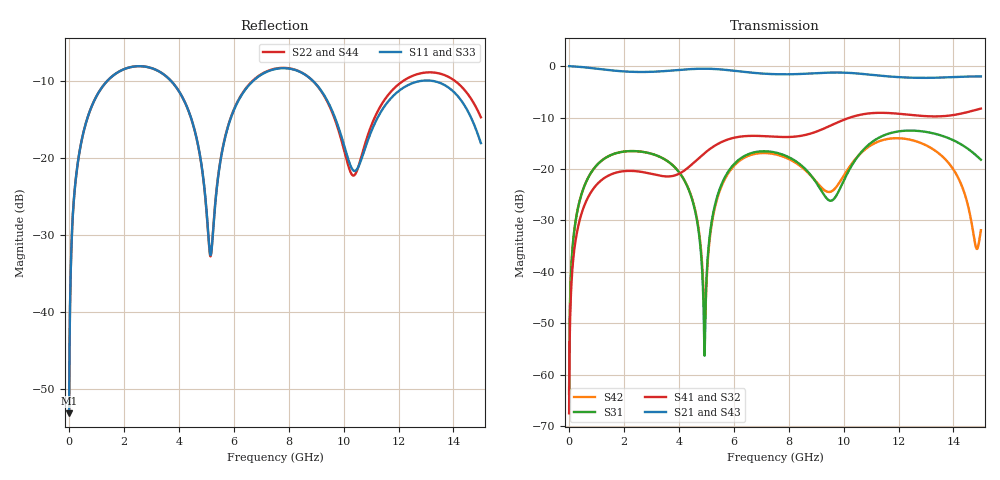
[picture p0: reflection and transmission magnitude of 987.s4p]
! Created with skrf 1.8.0 (http://scikit-rf.org).
# GHz S RI R 50.0
!freq ReS11 ImS11 ReS12 ImS12 ReS13 ImS13
! ReS14 ImS14
! ReS21 ImS21 ReS22 ImS22 ReS23 ImS23
! ReS24 ImS24
! ReS31 ImS31 ReS32 ImS32 ReS33 ImS33
! ReS34 ImS34
! ReS41 ImS41 ReS42 ImS42 ReS43 ImS43
! ReS44 ImS44
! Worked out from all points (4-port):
!   2499 points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, 5 MHz to 15 GHz, reference 50 ohm
!   strongest paths, dB at 5 MHz, 3.476 GHz, 7.19 GHz, 11.1 GHz, 15 GHz:
!     S21: 0.0, -1.0, -1.5, -1.7, -2.0
!     S43: 0.0, -1.0, -1.5, -1.7, -2.0
!     S41: -67.5, -21.4, -13.6, -9.1, -8.3
!     S32: -67.5, -21.5, -13.7, -9.1, -8.3
!     S31: -63.7, -18.1, -16.6, -14.5, -18.2
!     S42: -63.7, -18.1, -16.9, -15.1, -31.9
!   lowest |S11| = -53.2 dB at 5 MHz (marker M1), VSWR 1.00, Z = 50.2 + j0.133 ohm
!   |S11| at or under -10 dB: 3.726 GHz to 6.694 GHz (2.968 GHz wide, 57 % of centre); 8.894 GHz to 12.76 GHz (3.863 GHz wide, 35.7 % of centre); 13.3 GHz to end of sweep (the widest 3 of 4)
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0.005  0.00174 0.00133  0.9982 -0.00338  8.62e-05 0.000648  -8.4e-05 -0.000413
       0.9982 -0.00338  0.00174 0.00133  -8.4e-05 -0.000413  8.62e-05 0.000648
       8.62e-05 0.000648  -8.4e-05 -0.000413  0.00174 0.00133  0.9982 -0.00338
       -8.4e-05 -0.000413  8.62e-05 0.000648  0.9982 -0.00338  0.00174 0.00133
0.3626511  0.0333 0.0989  0.954 -0.2415  0.0151 0.0434  -0.0126 -0.027
           0.954 -0.2415  0.0334 0.0989  -0.0126 -0.027  0.0151 0.0434
           0.0151 0.0434  -0.0126 -0.027  0.0333 0.0989  0.954 -0.2415
           -0.0126 -0.027  0.0151 0.0434  0.954 -0.2415  0.0334 0.0989
1.725719  0.3222 0.1523  0.4275 -0.7912  0.137 0.0398  -0.0914 0.0133
          0.4275 -0.7912  0.3223 0.1522  -0.0913 0.0131  0.1369 0.04
          0.137 0.0398  -0.0913 0.0131  0.3223 0.1523  0.4275 -0.7912
          -0.0914 0.0133  0.1369 0.04  0.4275 -0.7912  0.3223 0.1522
4.939558  0.0305 -0.054  -0.9227 -0.1954  0.00152 0.000201  -0.0244 0.1406
          -0.9227 -0.1954  0.0299 -0.0534  -0.0259 0.1403  -0.00336 -0.00075
          0.00152 0.000201  -0.0259 0.1403  0.0295 -0.0548  -0.9226 -0.1955
          -0.0244 0.1406  -0.00336 -0.00075  -0.9226 -0.1955  0.0313 -0.0537
6.046269  0.1349 0.1651  -0.7901 0.4283  0.0967 0.0601  0.1205 0.1623
          -0.7901 0.4283  0.1363 0.1665  0.1188 0.1635  0.0896 0.0636
          0.0967 0.0601  0.1188 0.1635  0.1333 0.1655  -0.7902 0.4284
          0.1205 0.1623  0.0896 0.0636  -0.7902 0.4284  0.1374 0.1649
10.37932  0.0817 -0.0117  0.8468 0.1024  0.00682 0.117  0.0293 -0.3236
          0.8468 0.1024  0.0771 -0.00146  0.0347 -0.323  -0.02 0.1184
          0.00682 0.117  0.0347 -0.323  0.0823 -0.0118  0.8468 0.1018
          0.0293 -0.3236  -0.02 0.1184  0.8468 0.1018  0.0768 -0.0034
15  0.1081 -0.0629  -0.6622 -0.4364  -0.1005 -0.0711  -0.1991 0.3312
    -0.6622 -0.4364  0.1223 -0.1378  -0.2087 0.3245  0.0194 0.0164
    -0.1005 -0.0711  -0.2087 0.3245  0.0991 -0.0599  -0.6657 -0.4329
    -0.1991 0.3312  0.0194 0.0164  -0.6657 -0.4329  0.1206 -0.1306
